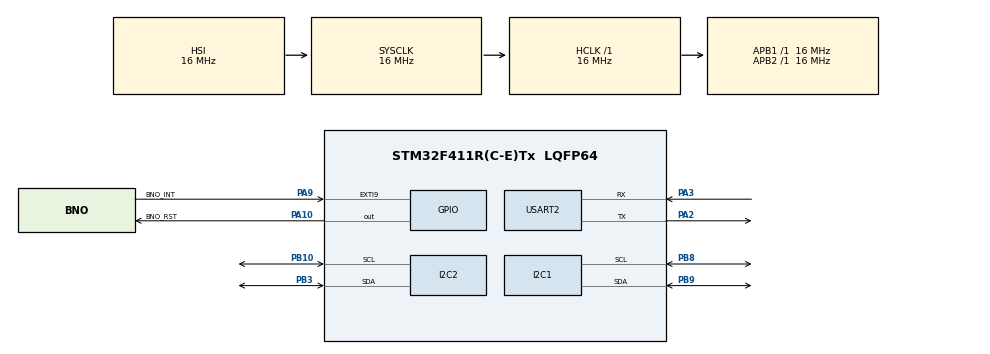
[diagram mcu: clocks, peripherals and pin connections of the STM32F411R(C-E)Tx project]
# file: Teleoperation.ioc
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I2C1.I2C_Mode=I2C_Fast
I2C2.I2C_Mode=I2C_Fast
Mcu.Family=STM32F4
Mcu.Name=STM32F411R(C-E)Tx
Mcu.Package=LQFP64
NVIC.EXTI9_5_IRQn=true\:0\:0\:false\:false\:true\:true\:true\:true
NVIC.PriorityGroup=NVIC_PRIORITYGROUP_4
NVIC.USART2_IRQn=true\:0\:0\:false\:false\:true\:true\:true\:true
PA10.GPIO_Label=BNO_RST
PA10.Signal=GPIO_Output
PA2.Mode=Asynchronous
PA2.Signal=USART2_TX
PA3.Mode=Asynchronous
PA3.Signal=USART2_RX
PA9.GPIO_Label=BNO_INT
PA9.GPIO_ModeDefaultEXTI=GPIO_MODE_IT_FALLING
PA9.Signal=GPXTI9
PB10.Mode=I2C
PB10.Signal=I2C2_SCL
PB3.Mode=I2C
PB3.Signal=I2C2_SDA
PB8.Mode=I2C
PB8.Signal=I2C1_SCL
PB9.Mode=I2C
PB9.Signal=I2C1_SDA
ProjectManager.HeapSize=0x200
ProjectManager.StackSize=0x400
ProjectManager.TargetToolchain=STM32CubeIDE
RCC.AHBFreq_Value=16000000
RCC.APB1Freq_Value=16000000
RCC.APB2Freq_Value=16000000
RCC.CortexFreq_Value=16000000
RCC.HSE_VALUE=25000000
RCC.HSI_VALUE=16000000
RCC.LSE_VALUE=32768
RCC.SYSCLKFreq_VALUE=16000000
RCC.VCOOutputFreq_Value=192000000
USART2.VirtualMode=VM_ASYNC
VP_TIM2_VS_ClockSourceINT.Mode=Internal
board=custom

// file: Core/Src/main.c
/* USER CODE BEGIN Header */
/**
  ******************************************************************************
  * @file           : main.c
  * @brief          : Main program body
  ******************************************************************************
  * @attention
  *
  * Copyright (c) 2026 STMicroelectronics.
  * All rights reserved.
  *
  * This software is licensed under terms that can be found in the LICENSE file
  * in the root directory of this software component.
  * If no LICENSE file comes with this software, it is provided AS-IS.
  *
  ******************************************************************************
  */
/* USER CODE END Header */
#include "main.h"
#include "i2c.h"
#include "tim.h"
#include "usart.h"
#include "gpio.h"

/* USER CODE BEGIN Includes */
#include <stdio.h>
#include <stdint.h>
#include <string.h>
#include "mpu6050.h"
#include "core_cm4.h"
#include "BNO_08x_I2C.h"
#include "arm_pose.h"
/* USER CODE END Includes */

/* USER CODE BEGIN PD */
#define BNO_REPORT_INTERVAL_US  10000U   // 10 ms -> 100 Hz rotation-vector reports
/* USER CODE END PD */

/* USER CODE BEGIN PV */
MPU6050_t MPU6050;
volatile uint8_t BNO_Ready = 0;
float roll1, pitch1, yaw1;
float roll2, pitch2, yaw2;

BNO_RotationVectorWAcc_t quat = {};

/* --- калибровка/классификация положения руки (arm_pose.c), команды 'g'/'f'/'l'/'r'
   принимаются побайтово по UART2 (тот же порт, что используется для передачи
   данных на ПК) --- */
static volatile uint8_t s_rx_cmd_byte = 0;
static volatile uint8_t s_rx_cmd_pending = 0;
static uint32_t s_tick_ms = 0;  /* грубый счётчик мс, инкрементируется в основном цикле - см. ниже */
/* USER CODE END PV */

void SystemClock_Config(void);

/* USER CODE BEGIN 0 */
static inline void DWT_Init(void)
{
    CoreDebug->DEMCR |= CoreDebug_DEMCR_TRCENA_Msk;
    DWT->CYCCNT = 0;
    DWT->CTRL |= DWT_CTRL_CYCCNTENA_Msk;
}

static inline void DWT_DelayUs(uint32_t us)
{
    uint32_t start = DWT->CYCCNT;
    uint32_t cycles = us * (SystemCoreClock / 1000000U);
    while ((DWT->CYCCNT - start) < cycles) { }
}

// BNO_INT (PA9) drives this HAL callback; it is what wakes waitInt() inside the BNO driver.
// If your project already defines HAL_GPIO_EXTI_Callback elsewhere, merge this into it
// instead of defining it twice (the linker will reject duplicates).
void HAL_GPIO_EXTI_Callback(uint16_t GPIO_Pin)
{
    if (GPIO_Pin == BNO_INT_Pin)
    {
        BNO_Ready = 1;
    }
}

/* Однобайтовый асинхронный приём команд калибровки с ПК ('g','f','l','r').
   ВАЖНО: если у вас уже ЕСТЬ обработчик HAL_UART_RxCpltCallback в проекте -
   слейте это тело в него (линковщик не даст определить функцию дважды),
   так же как и с HAL_GPIO_EXTI_Callback выше. */
void HAL_UART_RxCpltCallback(UART_HandleTypeDef *huart)
{
    if (huart->Instance == USART2)
    {
        s_rx_cmd_pending = 1;
        /* перезапускаем приём следующего байта */
        HAL_UART_Receive_IT(&huart2, (uint8_t*)&s_rx_cmd_byte, 1);
    }
}
/* USER CODE END 0 */

int main(void)
{

  /* MCU Configuration--------------------------------------------------------*/

  /* Reset of all peripherals, Initializes the Flash interface and the Systick. */
  HAL_Init();

  /* Configure the system clock */
  SystemClock_Config();

  /* Initialize all configured peripherals */
  MX_GPIO_Init();
  MX_I2C1_Init();
  MX_I2C2_Init();
  MX_USART2_UART_Init();
  MX_TIM2_Init();
  /* USER CODE BEGIN 2 */
  MPU6050_t imu2 = {
      .Address = 0x68 << 1
  };

  MPU6050_t imu1 = {
      .Address = 0x69 << 1
  };

  MPU6050_Init(&hi2c1, &imu1);
  MPU6050_Init(&hi2c1, &imu2);

  DWT_Init();
  HAL_TIM_Base_Start(&htim2);
  printf("Start!\r\n");
  printf("INT pin state: %d\r\n",
      HAL_GPIO_ReadPin(BNO_INT_GPIO_Port, BNO_INT_Pin));
  HAL_Delay(100);

  uint8_t bnoReady = 0;
  if (BNO_Init() == HAL_OK)
  {
      printf("BNO08x found!\r\n");
      // Absolute fused orientation, already sensor-calibrated on-chip
      if (BNO_setFeature(ROTATION_VECTOR, BNO_REPORT_INTERVAL_US, 0) == HAL_OK)
      {
          bnoReady = 1;
      }
      else
      {
          printf("BNO: failed to enable ROTATION_VECTOR\r\n");
      }
  }
  else
  {
      printf("BNO: sensor not responding!\r\n");
  }

  ArmPose_Init();
  HAL_UART_Receive_IT(&huart2, (uint8_t*)&s_rx_cmd_byte, 1);  /* запускаем приём команд калибровки */
  /* USER CODE END 2 */

  /* Infinite loop */
  /* USER CODE BEGIN WHILE */
  MPU6050_Calibrate(&hi2c1, &imu1, 500);
  MPU6050_Calibrate(&hi2c1, &imu2, 500);
  while (1)
  {
    /* USER CODE END WHILE */

    /* USER CODE BEGIN 3 */

	MPU6050_Read_All(&hi2c1, &imu1);
	MPU6050_Read_All(&hi2c1, &imu2);

	if (bnoReady && BNO_dataAvailable() == HAL_OK)
	{
	    if (BNO_getSensorEventID() == ROTATION_VECTOR)
	    {
	        quat = getRotationVector();
	    }
	}

	/* обработка команды калибровки, если пришла с ПК ('g'/'f'/'l'/'r') */
	if (s_rx_cmd_pending)
	{
	    s_rx_cmd_pending = 0;
	    ArmPose_HandleCommand((char)s_rx_cmd_byte);
	}

	/* грубая оценка времени в мс - HAL_GetTick() уже даёт готовый счётчик
	   (инкрементируется системным таймером HAL, 1мс/тик по умолчанию) -
	   используем его напрямую, s_tick_ms сохранён только для наглядности */
	s_tick_ms = HAL_GetTick();

	ArmPose_Quat q_upper = { imu1.q0, imu1.q1, imu1.q2, imu1.q3 };
	ArmPose_Quat q_fore  = { imu2.q0, imu2.q1, imu2.q2, imu2.q3 };
	ArmPose_Quat q_chest = { quat.Real, quat.I, quat.J, quat.K };
	ArmPose_Update(q_upper, q_fore, q_chest, s_tick_ms);
	uint8_t pose_number = ArmPose_GetPoseNumber();

    char tx[512];
    sprintf(tx,
            "%.4f %.4f %.4f %.4f %.4f %.4f %.4f %.4f %.4f %.4f %.4f %.4f %d\r\n",
            imu1.q0, imu1.q1, imu1.q2, imu1.q3,
            imu2.q0, imu2.q1, imu2.q2, imu2.q3,
			quat.Real, quat.I, quat.J, quat.K,
			(int)pose_number
        );

    HAL_UART_Transmit(&huart2, (uint8_t*)tx, strlen(tx), HAL_MAX_DELAY);
  }
  /* USER CODE END 3 */
}

void SystemClock_Config(void)
{
  RCC_OscInitTypeDef RCC_OscInitStruct = {0};
  RCC_ClkInitTypeDef RCC_ClkInitStruct = {0};

  /** Configure the main internal regulator output voltage
  */
  __HAL_RCC_PWR_CLK_ENABLE();
  __HAL_PWR_VOLTAGESCALING_CONFIG(PWR_REGULATOR_VOLTAGE_SCALE1);

  /** Initializes the RCC Oscillators according to the specified parameters
  * in the RCC_OscInitTypeDef structure.
  */
  RCC_OscInitStruct.OscillatorType = RCC_OSCILLATORTYPE_HSI;
  RCC_OscInitStruct.HSIState = RCC_HSI_ON;
  RCC_OscInitStruct.HSICalibrationValue = RCC_HSICALIBRATION_DEFAULT;
  RCC_OscInitStruct.PLL.PLLState = RCC_PLL_NONE;
  if (HAL_RCC_OscConfig(&RCC_OscInitStruct) != HAL_OK)
  {
    Error_Handler();
  }

  /** Initializes the CPU, AHB and APB buses clocks
  */
  RCC_ClkInitStruct.ClockType = RCC_CLOCKTYPE_HCLK|RCC_CLOCKTYPE_SYSCLK
                              |RCC_CLOCKTYPE_PCLK1|RCC_CLOCKTYPE_PCLK2;
  RCC_ClkInitStruct.SYSCLKSource = RCC_SYSCLKSOURCE_HSI;
  RCC_ClkInitStruct.AHBCLKDivider = RCC_SYSCLK_DIV1;
  RCC_ClkInitStruct.APB1CLKDivider = RCC_HCLK_DIV1;
  RCC_ClkInitStruct.APB2CLKDivider = RCC_HCLK_DIV1;

  if (HAL_RCC_ClockConfig(&RCC_ClkInitStruct, FLASH_LATENCY_0) != HAL_OK)
  {
    Error_Handler();
  }
}

void Error_Handler(void)
{
  __disable_irq();
  while (1)
  {
  }
}
